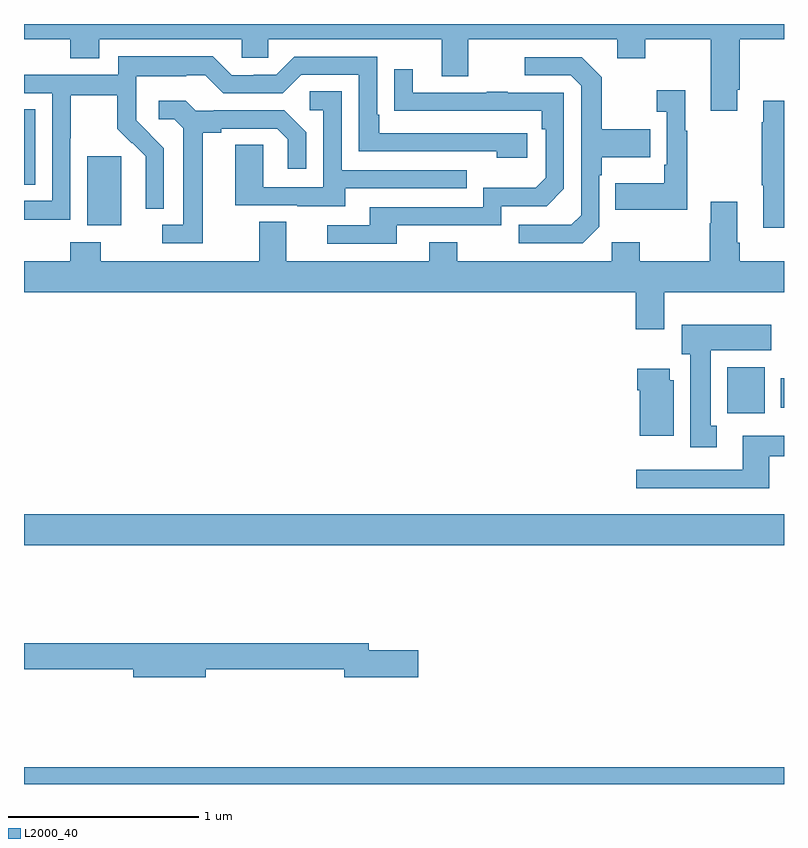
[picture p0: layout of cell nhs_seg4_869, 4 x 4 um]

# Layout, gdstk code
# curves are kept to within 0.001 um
import gdstk
lib = gdstk.Library(unit=1e-6, precision=1e-09)
def R(c, l, rs):  # rectangles x0, y0, x1, y1
    for r in rs: c.add(gdstk.rectangle(r[:2], r[2:], *l))
def P(c, l, *ps):  # polygons
    for p in ps: c.add(gdstk.Polygon(p, *l))
L2000_40 = (2000, 40)

nhs_seg4_869 = lib.new_cell('nhs_seg4_869')
R(nhs_seg4_869, L2000_40, [(155,792.9,159,792.988), (155,794.156,159,794.32), (158.702,794.852,158.899,795.094), (158.984,794.88,159,795.036), (155.333,795.842,155.512,796.203), (155,796.054,155.059,796.451)])
P(nhs_seg4_869, L2000_40, [(158.755,796.555),(158.768,796.555),(158.768,796.82),(159,796.82),(159,796.9),(155,796.9),(155,796.82),(155.243,796.82),(155.243,796.721),(155.395,796.721),(155.395,796.82),(156.147,796.82),(156.147,796.722),(156.285,796.722),(156.285,796.82),(157.199,796.82),(157.199,796.626),(157.339,796.626),(157.339,796.82),(158.123,796.82),(158.123,796.721),(158.271,796.721),(158.271,796.82),(158.615,796.82),(158.615,796.443),(158.755,796.443)],
  [(155.244,796.3),(155.247,796.3),(155.247,796.524),(155.491,796.524),(155.491,796.349),(155.568,796.272),(155.571,796.275),(155.642,796.205),(155.642,796.082),(155.64,796.082),(155.64,795.928),(155.736,795.928),(155.736,796.246),(155.59,796.394),(155.59,796.491),(155.592,796.491),(155.592,796.625),(155.855,796.625),(155.855,796.629),(155.955,796.629),(156.048,796.536),(156.363,796.536),(156.459,796.632),(156.762,796.632),(156.762,796.23),(157.487,796.23),(157.487,796.196),(157.648,796.196),(157.648,796.326),(156.871,796.326),(156.871,796.423),(156.858,796.423),(156.858,796.728),(156.423,796.728),(156.327,796.632),(156.209,796.632),(156.209,796.629),(156.093,796.629),(155.993,796.729),(155.496,796.729),(155.496,796.632),(155,796.632),(155,796.536),(155.148,796.536),(155.148,795.969),(155,795.969),(155,795.871),(155.244,795.871)],
  [(158.028,795.834),(158.028,796.103),(158.041,796.103),(158.041,796.199),(158.297,796.199),(158.297,796.347),(158.041,796.347),(158.041,796.619),(157.935,796.725),(157.635,796.725),(157.635,796.629),(157.878,796.629),(157.932,796.575),(157.932,795.894),(157.881,795.843),(157.605,795.843),(157.605,795.747),(157.941,795.747)],
  [(156.961,795.84),(157.512,795.84),(157.512,795.942),(157.752,795.942),(157.842,796.032),(157.842,796.539),(157.547,796.539),(157.547,796.544),(157.435,796.544),(157.435,796.539),(157.045,796.539),(157.045,796.663),(156.949,796.663),(156.949,796.444),(157.726,796.443),(157.726,796.346),(157.746,796.346),(157.746,796.092),(157.693,796.039),(157.416,796.039),(157.416,795.936),(156.821,795.936),(156.821,795.84),(156.597,795.84),(156.597,795.744),(156.961,795.744)],
  [(158.491,796.339),(158.479,796.339),(158.479,796.552),(158.331,796.552),(158.331,796.439),(158.382,796.439),(158.382,796.159),(158.37,796.159),(158.37,796.063),(158.113,796.063),(158.113,795.923),(158.491,795.923)],
  [(156.691,796.035),(157.331,796.035),(157.331,796.131),(156.672,796.131),(156.672,796.547),(156.504,796.547),(156.504,796.446),(156.576,796.446),(156.576,796.041),(156.258,796.041),(156.258,796.265),(156.113,796.265),(156.113,795.945),(156.437,795.945),(156.437,795.941),(156.691,795.941)],
  [(159,796.495),(158.891,796.495),(158.891,796.382),(158.884,796.382),(158.884,796.051),(158.891,796.051),(158.891,795.828),(159,795.828)],
  [(155.941,796.328),(156.037,796.328),(156.037,796.35),(156.332,796.35),(156.389,796.293),(156.389,796.137),(156.486,796.137),(156.486,796.33),(156.37,796.446),(155.998,796.446),(155.998,796.443),(155.904,796.443),(155.852,796.495),(155.709,796.495),(155.709,796.398),(155.79,796.398),(155.837,796.351),(155.837,795.843),(155.727,795.843),(155.727,795.747),(155.941,795.747)],
  [(158.371,795.488),(159,795.488),(159,795.652),(158.768,795.652),(158.768,795.748),(158.755,795.748),(158.755,795.964),(158.615,795.964),(158.615,795.851),(158.608,795.851),(158.608,795.652),(158.241,795.652),(158.241,795.751),(158.094,795.751),(158.094,795.652),(157.281,795.652),(157.281,795.751),(157.133,795.751),(157.133,795.652),(156.379,795.652),(156.379,795.86),(156.239,795.86),(156.239,795.652),(155.403,795.652),(155.403,795.751),(155.243,795.751),(155.243,795.652),(155,795.652),(155,795.488),(158.219,795.488),(158.219,795.294),(158.371,795.294)],
  [(158.647,794.786),(158.614,794.786),(158.614,795.182),(158.932,795.182),(158.932,795.316),(158.462,795.316),(158.462,795.162),(158.507,795.162),(158.507,794.673),(158.647,794.673)],
  [(158.419,795.024),(158.398,795.024),(158.398,795.085),(158.228,795.085),(158.228,794.972),(158.24,794.972),(158.24,794.732),(158.419,794.732)],
  [(158.923,794.625),(159,794.625),(159,794.734),(158.783,794.734),(158.783,794.553),(158.223,794.553),(158.223,794.456),(158.923,794.456)],
  [(155.956,793.504),(156.686,793.504),(156.686,793.462),(157.075,793.462),(157.075,793.604),(156.814,793.604),(156.814,793.64),(155,793.64),(155,793.504),(155.576,793.504),(155.576,793.462),(155.956,793.462)])

lib.write_gds('nhs_seg4_869.gds')
